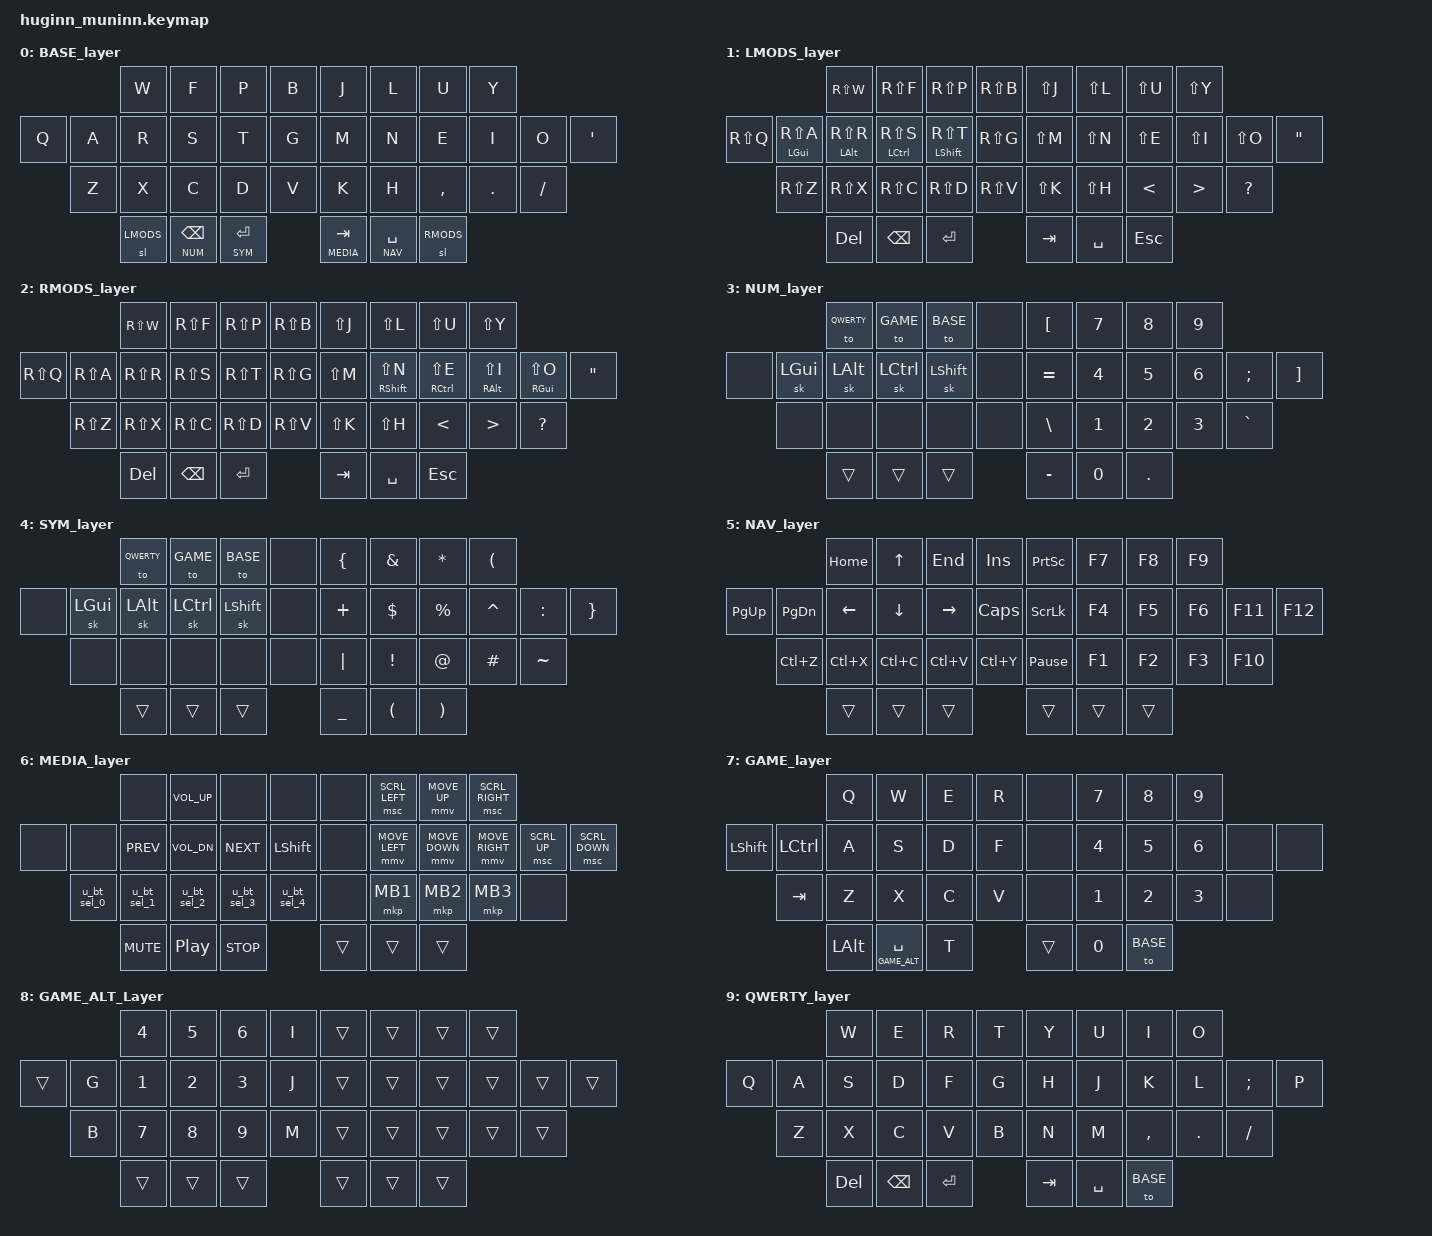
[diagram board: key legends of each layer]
/*
* Copyright (c) 2022 The ZMK Contributors
*
* SPDX-License-Identifier: MIT
*/
#include <behaviors.dtsi>
#include <dt-bindings/zmk/keys.h>
#include <dt-bindings/zmk/bt.h>
#include <dt-bindings/zmk/pointing.h>

#define U_MACRO_VA_ARGS(macro, ...) macro(__VA_ARGS__)
#define U_STRINGIFY(x) #x
#define U_MACRO(name,...) \
/ { \
  macros { \
    name: name { \
      label = U_STRINGIFY(ZM_ ## name); \
      compatible = "zmk,behavior-macro"; \
      #binding-cells = <0>; \
      __VA_ARGS__ \
    }; \
  }; \
};

#define MIRYOKU_SHIFT_FUNCTION(NAME, BINDING, SHIFT_BINDING) \
/ { \
  behaviors { \
    NAME: NAME { \
      compatible = "zmk,behavior-mod-morph"; \
      label = U_STRINGIFY(NAME); \
      #binding-cells = <0>; \
      bindings = <BINDING>, <SHIFT_BINDING>; \
      mods = <(MOD_LSFT|MOD_RSFT)>; \
    }; \
  }; \
};

#define MIRYOKU_SHIFT_MACRO(NAME, BINDING, SHIFT_BINDING) \
U_MACRO(u_macro_ ## NAME, wait-ms = <0>; bindings = <SHIFT_BINDING>;) \
MIRYOKU_SHIFT_FUNCTION(NAME, BINDING, &u_macro_ ## NAME)

MIRYOKU_SHIFT_MACRO(u_bt_sel_0, &bt BT_SEL 0, &bt BT_SEL 0 &bt BT_CLR)
MIRYOKU_SHIFT_MACRO(u_bt_sel_1, &bt BT_SEL 1, &bt BT_SEL 1 &bt BT_CLR)
MIRYOKU_SHIFT_MACRO(u_bt_sel_2, &bt BT_SEL 2, &bt BT_SEL 2 &bt BT_CLR)
MIRYOKU_SHIFT_MACRO(u_bt_sel_3, &bt BT_SEL 3, &bt BT_SEL 3 &bt BT_CLR)
MIRYOKU_SHIFT_MACRO(u_bt_sel_4, &bt BT_SEL 4, &bt BT_SEL 4 &bt BT_CLR)

#define BASE 0
#define LMODS 1
#define RMODS 2
#define NUM 3
#define SYM 4
#define NAV 5
#define MEDIA 6
#define GAME 7
#define GAME_ALT 8
#define QWERTY 9

&sk {
    quick-release;
};

/ {
    keymap {
        compatible = "zmk,keymap";
// BASE 0
        BASE_layer {
            bindings = <
                            &kp W       &kp F        &kp P        &kp B            &kp J     &kp L        &kp U        &kp Y
          &kp Q &kp A       &kp R       &kp S        &kp T        &kp G            &kp M     &kp N        &kp E        &kp I       &kp O  &kp SQT
                &kp Z       &kp X       &kp C        &kp D        &kp V            &kp K     &kp H        &kp COMMA    &kp DOT     &kp FSLH
                                  &sl LMODS       &lt NUM BSPC  &lt SYM RET     &lt MEDIA TAB   &lt NAV SPACE  &sl RMODS
            >;
        };

// LMODS 1
        LMODS_layer {
            bindings = <
                                &kp RS(W)      &kp RS(F)       &kp RS(P)       &kp RS(B)           &kp LS(J)   &kp LS(L)   &kp LS(U)   &kp LS(Y)
      &kp RS(Q)  &mt LGUI RS(A) &mt LALT RS(R) &mt LCTRL RS(S) &mt LSHFT RS(T) &kp RS(G)           &kp LS(M)   &kp LS(N)   &kp LS(E)   &kp LS(I)   &kp LS(O)   &kp DQT
                 &kp RS(Z)      &kp RS(X)      &kp RS(C)       &kp RS(D)       &kp RS(V)           &kp LS(K)   &kp LS(H)   &kp LT      &kp GT      &kp QMARK
                                                               &kp DEL   &kp BSPC   &kp RET     &kp TAB    &kp SPACE  &kp ESC
            >;
        };

// RMODS 2
        RMODS_layer {
            bindings = <
                             &kp RS(W)   &kp RS(F)   &kp RS(P)   &kp RS(B)           &kp LS(J)   &kp LS(L)       &kp LS(U)       &kp LS(Y)
      &kp RS(Q)  &kp RS(A)   &kp RS(R)   &kp RS(S)   &kp RS(T)   &kp RS(G)           &kp LS(M)   &mt RSHFT LS(N) &mt RCTRL LS(E) &mt RALT LS(I) &mt RGUI LS(O)  &kp DQT
                 &kp RS(Z)   &kp RS(X)   &kp RS(C)   &kp RS(D)   &kp RS(V)           &kp LS(K)   &kp LS(H)       &kp LT          &kp GT         &kp QMARK
                                                 &kp DEL   &kp BSPC   &kp RET     &kp TAB    &kp SPACE  &kp ESC
            >;
        };

// NUM 3
        NUM_layer {
            bindings = <
                            &to QWERTY  &to GAME    &to BASE    &none              &kp LBKT         &kp N7       &kp N8       &kp N9
      &none     &sk LGUI    &sk LALT    &sk LCTRL   &sk LSHFT   &none              &kp EQUAL        &kp N4       &kp N5       &kp N6      &kp SEMI   &kp RBKT
                &none       &none       &none       &none       &none              &kp BSLH         &kp N1       &kp N2       &kp N3      &kp GRAVE
                                            &trans     &trans     &trans        &kp MINUS      &kp N0      &kp DOT
            >;
        };

// SYM 4
        SYM_layer {
            bindings = <
                            &to QWERTY  &to GAME    &to BASE    &none              &kp LBRC         &kp AMPS    &kp ASTRK   &kp LPAR
      &none     &sk LGUI    &sk LALT    &sk LCTRL   &sk LSHFT   &none              &kp PLUS         &kp DLLR    &kp PRCNT   &kp CARET  &kp COLON  &kp RBRC
                &none       &none       &none       &none       &none              &kp PIPE         &kp EXCL    &kp AT      &kp HASH   &kp TILDE
                                            &trans     &trans     &trans        &kp UNDER      &kp LPAR      &kp RPAR
            >;
        };

// NAV 5
        NAV_layer {
            bindings = <
                             &kp HOME    &kp UP      &kp END     &kp INS            &kp PSCRN        &kp F7        &kp F8       &kp F9
      &kp PG_UP  &kp PG_DN   &kp LEFT    &kp DOWN    &kp RIGHT   &kp CAPS           &kp SLCK         &kp F4        &kp F5       &kp F6       &kp F11  &kp F12
                 &kp LC(Z)   &kp LC(X)   &kp LC(C)   &kp LC(V)   &kp LC(Y)          &kp PAUSE_BREAK  &kp F1        &kp F2       &kp F3       &kp F10
                                             &trans     &trans      &trans        &trans        &trans        &trans
            >;
        };

// MEDIA 6
        MEDIA_layer {
            bindings = <
                              &none            &kp C_VOL_UP       &none              &none                  &none            &msc SCRL_LEFT  &mmv MOVE_UP    &msc SCRL_RIGHT
      &none      &none        &kp C_PREV       &kp C_VOL_DN       &kp C_NEXT         &kp LSHFT              &none            &mmv MOVE_LEFT  &mmv MOVE_DOWN  &mmv MOVE_RIGHT  &msc SCRL_UP  &msc SCRL_DOWN
                 &u_bt_sel_0  &u_bt_sel_1      &u_bt_sel_2        &u_bt_sel_3        &u_bt_sel_4            &none            &mkp MB1        &mkp MB2        &mkp MB3         &none
                                                           &kp C_MUTE   &kp C_PP  &kp C_STOP           &trans         &trans        &trans
            >;
        };

// GAME 7
        GAME_layer {
            bindings = <
                             &kp Q       &kp W       &kp E     &kp R                    &none             &kp N7            &kp N8       &kp N9       
      &kp LSHFT  &kp LCTRL   &kp A       &kp S       &kp D     &kp F                    &none             &kp N4            &kp N5       &kp N6       &none  &none
                 &kp TAB     &kp Z       &kp X       &kp C     &kp V                    &none             &kp N1            &kp N2       &kp N3       &none
                                            &kp LALT   &lt GAME_ALT SPACE  &kp T    &trans         &kp N0        &to BASE
            >;
        };

// GAME_ALT 8
        GAME_ALT_Layer {
            bindings = <
                             &kp N4      &kp N5      &kp N6    &kp I                &trans             &trans       &trans       &trans
      &trans     &kp G       &kp N1      &kp N2      &kp N3    &kp J                &trans             &trans       &trans       &trans     &trans  &trans
                 &kp B       &kp N7      &kp N8      &kp N9    &kp M                &trans             &trans       &trans       &trans     &trans
                                              &trans     &trans    &trans        &trans         &trans        &trans
            >;
        };

// QWERTY 9
        QWERTY_layer {
            bindings = <
                            &kp W       &kp E        &kp R        &kp T            &kp Y     &kp U        &kp I        &kp O
          &kp Q &kp A       &kp S       &kp D        &kp F        &kp G            &kp H     &kp J        &kp K        &kp L       &kp SEMI  &kp P
                &kp Z       &kp X       &kp C        &kp V        &kp B            &kp N     &kp M        &kp COMMA    &kp DOT     &kp FSLH
                                            &kp DEL    &kp BSPC    &kp RET       &kp TAB    &kp SPACE  &to BASE
            >;
        };
    };
};
